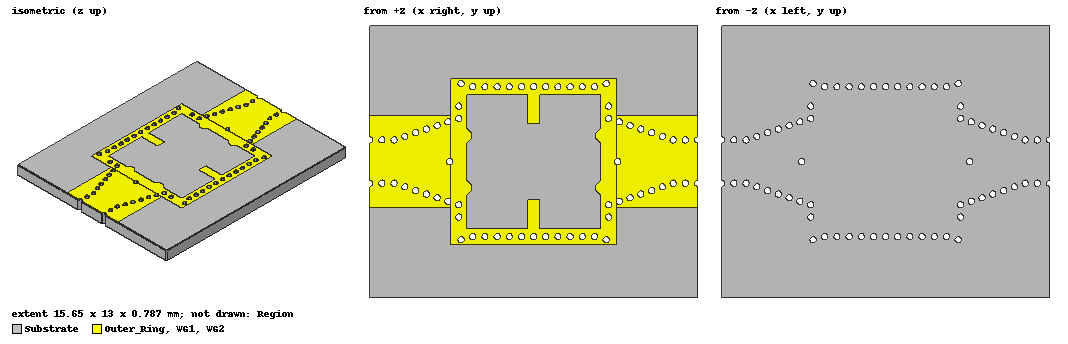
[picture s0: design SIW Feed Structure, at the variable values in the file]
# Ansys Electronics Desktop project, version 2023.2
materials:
  Rogers RT/duroid 5880 (tm): permittivity=2.2 dielectric_loss_tangent=0.0009
  copper: permeability=0.999991 conductivity=58000000
  vacuum: permittivity=1

design SIW Feed Structure (HFSS, HFSS Hybrid Modal Network, model units mm)
options: Save_Adaptive_support_files
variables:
  gx = 15.65mm  # total device width
  gy = 13mm  # total device length
  hsub = 0.787mm  # substrate thickness
  cx = 7.9mm  # outer ring side width
  cy = 7.9mm  # outer ring side length
  cd = 0.75mm  # outer ring trace width
  t1 = 0.2502mm
  gap = 0.18mm  # element trace gap
  pl = 1.4mm  # aperture separator length
  pw = 0.6mm  # aperture separator width
  vd = 0.3mm  # via diameter
  vs = 0.58mm  # via period
  fl = 0.2316mm
  fw = 0.7517mm
  fx = 2.6516mm
  fy = 2.0646mm
  lWG = (gx-cx)/2
  wWG = 2*fy+vd
  offset = 0.04mm
  Ty = 2.5mm
  t2 = 0.2mm
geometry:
  Substrate [Rogers RT/duroid 5880 (tm)] = box(corner=(0mm, 0mm, 0mm), size=(gx, gy, hsub))
  coordinate_system TopCS = origin=(0mm, 0mm, 0.787mm) x=(1mm, 0mm, 0mm) y=(0mm, 1mm, 0mm)
  coordinate_system WG1CS = origin=(0mm, gy/2, 0mm) x=(1mm, 0mm, 0mm) y=(0mm, 1mm, 0mm) in TopCS
  WG1 = rectangle(corner=(0mm, -wWG/2, 0mm), x_size=lWG, y_size=wWG) in WG1CS
  coordinate_system CenterCS = origin=(gx/2, 0mm, 0mm) x=(1mm, 0mm, 0mm) y=(0mm, 1mm, 0mm) in WG1CS
  WG2 = WG1.duplicate_mirror(point=(0mm, 0mm, 0mm), normal=(1mm, 0mm, 0mm)) in CenterCS
  Outer_Ring = rectangle(corner=(-cx/2, -cy/2, 0mm), x_size=cx, y_size=cy) in CenterCS
  Aperture = rectangle(corner=(-cx/2+cd, -cy/2+cd, 0mm), x_size=cx-2*cd, y_size=cy-2*cd) in CenterCS
  Outer_Ring.subtract(Aperture)
  Separator = rectangle(corner=(-pw/2, -cy/2+cd, 0mm), x_size=pw, y_size=pl) in CenterCS
  Separator_1 = Separator.duplicate_mirror(point=(0mm, 0mm, 0mm), normal=(0mm, 1mm, 0mm)) in CenterCS
  Via = cylinder(axis=Z, base_centre=(0mm, -cy/2+cd/2, 0mm), radius=vd/2, height=-hsub) in CenterCS
  Via_1..Via_5 = Via.duplicate_along_line(step=(vs, 0mm, 0mm), total=6) in CenterCS
  Via_5_1 = Via_5.duplicate_along_line(step=(sqrt((vs)^2-((vd)/2)^2), -vd/2, 0mm), total=2) in CenterCS
  Via1 = cylinder(axis=Z, base_centre=((cx-cd)/2, -fy, 0mm), radius=vd/2, height=-hsub) in CenterCS
  Via1_1 = Via1.duplicate_along_line(step=(0mm, -vs, 0mm), total=2) in CenterCS
  Via1_2..Via1_7 = Via1.duplicate_along_line(step=(sqrt(vs^2-((fy/2)/6)^2)-offset, (fy/2)/6, 0mm), total=7) in CenterCS
  Via1_7_1, Via1_7_2 = Via1_7.duplicate_along_line(step=(vs, 0mm, 0mm), total=3) in CenterCS
  Via_Center = cylinder(axis=Z, base_centre=((cx-cd)/2+6*(sqrt(vs^2-((fy/2)/6)^2)-offset)-fx, 0, 0mm), radius=vd/2, height=-hsub) in CenterCS
  Via.unite(Via_1..Via_5, Via_5_1, Via1, Via1_1..Via1_7, Via1_7_1, Via1_7_2)
  Via_6 = Via.duplicate_mirror(point=(0mm, 0mm, 0mm), normal=(0mm, 1mm, 0mm)) in CenterCS
  Via.unite(Via_6)
  Via_7 = Via.duplicate_mirror(point=(0mm, 0mm, 0mm), normal=(-1mm, 0mm, 0mm)) in CenterCS
  Via_Center_1 = Via_Center.duplicate_mirror(point=(0mm, 0mm, 0mm), normal=(-1mm, 0mm, 0mm)) in CenterCS
  Via.unite(Via_7, Via_Center, Via_Center_1)
  coordinate_system FeedGroundCS = origin=(-cx/2+cd+fl, -Ty/2, -hsub) x=(1mm, 0mm, 0mm) y=(0mm, 1mm, 0mm) in CenterCS
  Feed_Taper = polyline(z=hsub, xy: (-fl, -fw/2) (0, -t1/2) (0, t1/2) (-fl, fw/2) (-fl, -fw/2), closed, covered) in FeedGroundCS
  Feed_Taper_1 = Feed_Taper.duplicate_along_line(step=(0mm, Ty, 0mm), total=2) in FeedGroundCS
  Feed_Taper_2 = Feed_Taper.duplicate_mirror(point=(0mm, 0mm, 0mm), normal=(1mm, 0mm, 0mm)) in CenterCS
  Feed_Taper_1_1 = Feed_Taper_1.duplicate_mirror(point=(0mm, 0mm, 0mm), normal=(1mm, 0mm, 0mm)) in CenterCS
  Outer_Ring.unite(Separator, Separator_1, Feed_Taper, Feed_Taper_1, Feed_Taper_1_1, Feed_Taper_2)
  Via_8 = Via.copy()
  Outer_Ring.subtract(Via_8)
  Via_9 = Via.copy()
  Substrate.subtract(Via_9)
  Via_10 = Via.copy()
  WG1.subtract(Via_10)
  WG2.subtract(Via)
  Region [vacuum] = region(+X=0 percentage offset, -X=0 percentage offset, +Y=0mm absolute offset, -Y=0mm absolute offset, +Z=2mm absolute offset, -Z=1mm absolute offset) in CenterCS
  plane CutPlane = base (0mm, 0mm, -hsub/2) normal (0mm, 0mm, 1mm) in CenterCS
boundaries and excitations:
  Copper: Finite Conductivity Faces=Substrate.face(at (11.6818, 6.5, 0.3935), at (0.156635, 5.4677, 0.3935), at (1.31663, 5.4677, 0.3935), at (2.34442, 5.1236, 0.3935), at (3.37221, 4.7795, 0.3935), at (4.4, 3.8554, 0.3935), at (4.51473, 2.775, 0.3935), at (5.655, 2.925, 0.3935), at (6.815, 2.925, 0.3935), at (7.675, 2.925, 0.3935), at (7.395, 2.925, 0.3935), at (6.235, 2.925, 0.3935)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) WG2.face Outer_Ring.face(at (7.825, 6.5, 0.787)) WG1.face(at (1.9375, 6.5, 0.787)) UseMaterial Material=copper IsInternal
  Rad1: Radiation Faces=Region.face(all 6)
  1: Wave Port Faces=Substrate.face(at (0, 6.5, 0.3935)) WavePortType=Modal NumModes=1 Modes{Mode1{IntLine{(0, 6.5, 0) -> (0, 6.5, 0.787)} CharImp=Zpi}}
  2: Wave Port Faces=Substrate.face(at (15.65, 6.5, 0.3935)) WavePortType=Modal NumModes=1 Modes{Mode1{IntLine{(15.65, 6.5, 0) -> (15.65, 6.5, 0.787)} CharImp=Zpi}}
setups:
  Setup1: HfssDriven Frequency=60GHz MaxDeltaS=0.02 MaximumPasses=6 MinimumPasses=1 MinimumConvergedPasses=1 PercentRefinement=30 BasisOrder=1 PortAccuracy=2 DrivenSolverType="Direct Solver"
    sweep Sweep: 56GHz to 67GHz step 0.1GHz; Type=Interpolating InterpTolerance=0.5 InterpMaxSolns=250 InterpUsePortImped=false PassivityErrorTolerance=0.0001
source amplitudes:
  1:1: 1W 0deg
  2:1: 1W 180deg
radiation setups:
  3D: Infinite Sphere Theta=0deg..180deg step 2deg Phi=-180deg..180deg step 2deg
  Elevation: Infinite Sphere Theta=-180deg..180deg step 2deg Phi=0deg..90deg step 90deg
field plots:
  Mag_E1, Mag_E2: E Field over a plane on Setup1 : LastAdaptive at Freq=60GHz Phase=0deg
